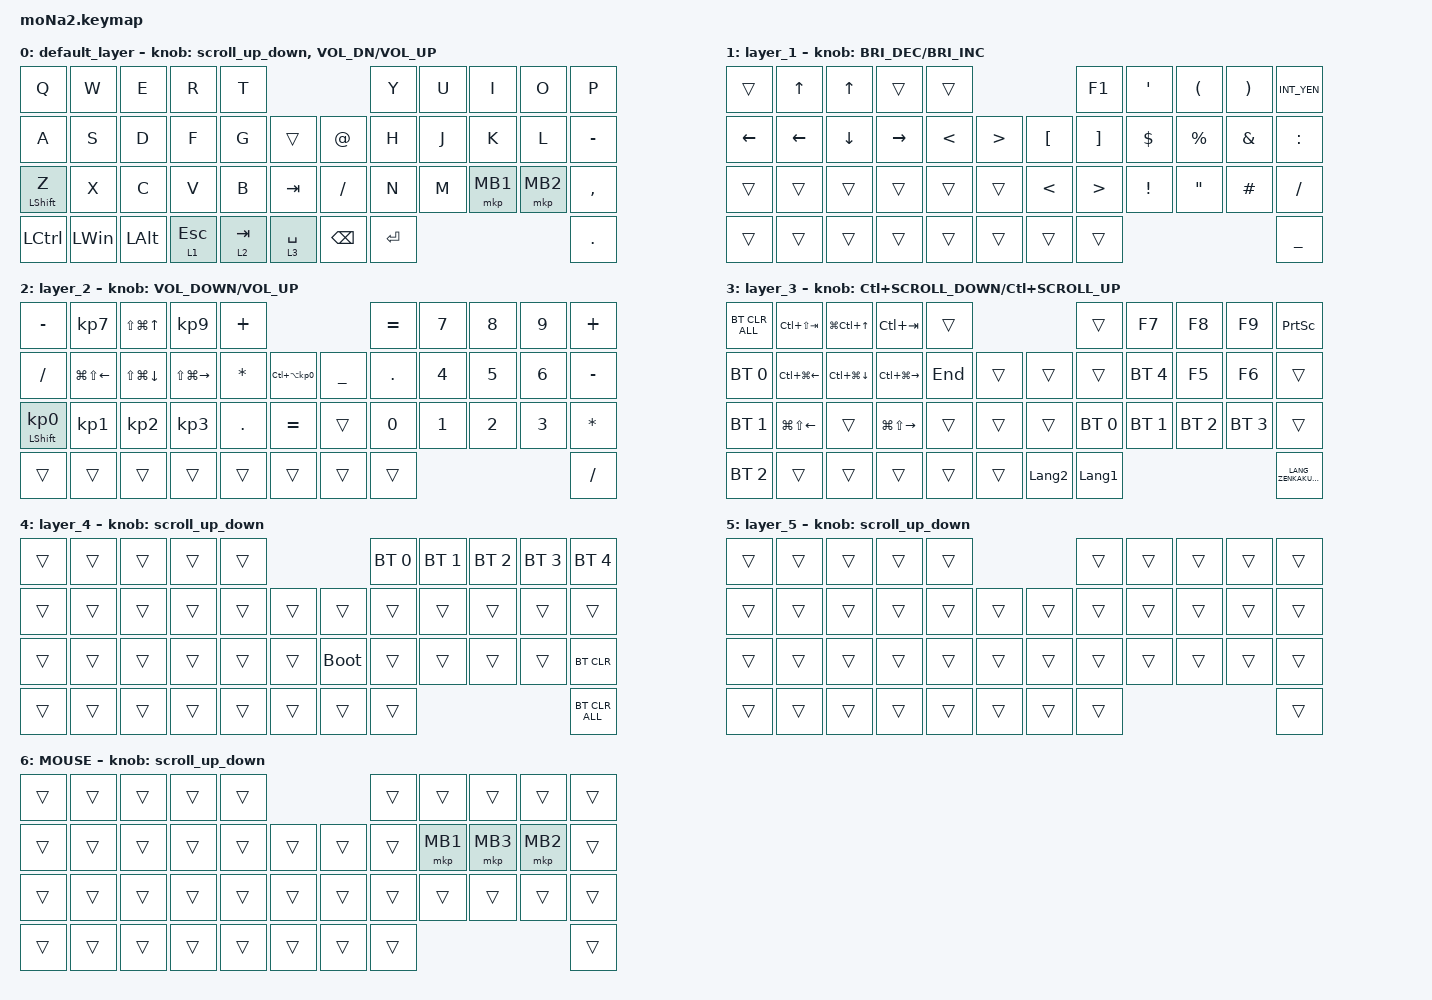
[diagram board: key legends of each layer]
#include <behaviors.dtsi>
#include <dt-bindings/zmk/bt.h>
#include <dt-bindings/zmk/keys.h>
#include <dt-bindings/zmk/pointing.h>
#include <dt-bindings/zmk/pointing.h>

#define ZMK_POINTING_DEFAULT_SCRL_VAL 100
#define MOUSE 6

&mt {
    flavor = "balanced";
    quick-tap-ms = <0>;
};

/ {
    combos { compatible = "zmk,combos"; };

    macros {
        to_layer_0: to_layer_0 {
            compatible = "zmk,behavior-macro-one-param";
            #binding-cells = <1>;
            bindings = <&to 0 &macro_param_1to1 &kp MACRO_PLACEHOLDER>;
            label = "TO_LAYER_0";
        };
    };

    behaviors {
        lt_to_layer_0: lt_to_layer_0 {
            compatible = "zmk,behavior-hold-tap";
            label = "LAYER_TAP_TO_0";
            bindings = <&mo>, <&to_layer_0>;

            #binding-cells = <2>;
            tapping-term-ms = <200>;
        };

        scroll_up_down: behavior_sensor_rotate_mouse_wheel_up_down {
            compatible = "zmk,behavior-sensor-rotate";
            #sensor-binding-cells = <0>;
            bindings = <&msc SCRL_UP>, <&msc SCRL_DOWN>;

            tap-ms = <20>;
        };
    };

    keymap {
        compatible = "zmk,keymap";

        default_layer {
            bindings = <
&kp Q             &kp W         &kp E         &kp R         &kp T                                    &kp Y      &kp U  &kp I     &kp O     &kp P
&kp A             &kp S         &kp D         &kp F         &kp G      &trans         &kp AT_SIGN    &kp H      &kp J  &kp K     &kp L     &kp MINUS
&mt LEFT_SHIFT Z  &kp X         &kp C         &kp V         &kp B      &kp TAB        &kp SLASH      &kp N      &kp M  &mkp MB1  &mkp MB2  &kp COMMA
&kp LCTRL         &kp LEFT_WIN  &kp LEFT_ALT  &lt 1 ESCAPE  &lt 2 TAB  &lt 3 SPACE    &kp BACKSPACE  &kp ENTER                             &kp PERIOD
            >;

            sensor-bindings =
                <&scroll_up_down>,
                <&inc_dec_kp C_VOL_DN C_VOL_UP>;
        };

        layer_1 {
            bindings = <
&trans    &kp UP_ARROW  &kp UP_ARROW  &trans     &trans                                               &kp F1             &kp SQT          &kp LEFT_PARENTHESIS  &kp RIGHT_PARENTHESIS  &kp INT_YEN
&kp LEFT  &kp LEFT      &kp DOWN      &kp RIGHT  &kp LESS_THAN  &kp GREATER_THAN    &kp LEFT_BRACKET  &kp RIGHT_BRACKET  &kp DOLLAR       &kp PERCENT           &kp AMPERSAND          &kp COLON
&trans    &trans        &trans        &trans     &trans         &trans              &kp LESS_THAN     &kp GREATER_THAN   &kp EXCLAMATION  &kp DOUBLE_QUOTES     &kp HASH               &kp SLASH
&trans    &trans        &trans        &trans     &trans         &trans              &trans            &trans                                                                           &kp UNDER
            >;

            sensor-bindings = <&inc_dec_kp C_BRIGHTNESS_DEC C_BRIGHTNESS_INC>;
        };

        layer_2 {
            bindings = <
&kp MINUS                   &kp KP_NUMBER_7   &kp LS(LG(UP_ARROW))  &kp KP_NUMBER_9    &kp PLUS                                                 &kp EQUAL   &kp N7        &kp N8        &kp N9        &kp PLUS
&kp SLASH                   &kp LG(LS(LEFT))  &kp LS(LG(DOWN))      &kp LS(LG(RIGHT))  &kp ASTERISK  &kp LC(LA(KP_NUMBER_0))    &kp UNDERSCORE  &kp PERIOD  &kp NUMBER_4  &kp N5        &kp NUMBER_6  &kp MINUS
&mt LEFT_SHIFT KP_NUMBER_0  &kp KP_NUMBER_1   &kp KP_NUMBER_2       &kp KP_NUMBER_3    &kp PERIOD    &kp EQUAL                  &trans          &kp N0      &kp NUMBER_1  &kp NUMBER_2  &kp NUMBER_3  &kp ASTRK
&trans                      &trans            &trans                &trans             &trans        &trans                     &trans          &trans                                                &kp SLASH
            >;

            sensor-bindings = <&inc_dec_kp C_VOLUME_DOWN C_VOLUME_UP>;
        };

        layer_3 {
            bindings = <
&bt BT_CLR_ALL  &kp LC(LS(TAB))         &kp LG(LC(UP_ARROW))    &kp LC(TAB)              &trans                             &trans          &kp F7        &kp F8        &kp F9        &kp PRINTSCREEN
&bt BT_SEL 0    &kp LC(LG(LEFT_ARROW))  &kp LC(LG(DOWN_ARROW))  &kp LC(LG(RIGHT_ARROW))  &kp END  &trans    &trans          &trans          &bt BT_SEL 4  &kp F5        &kp F6        &trans
&bt BT_SEL 1    &kp LG(LS(LEFT_ARROW))  &trans                  &kp LG(LS(RIGHT_ARROW))  &trans   &trans    &trans          &bt BT_SEL 0    &bt BT_SEL 1  &bt BT_SEL 2  &bt BT_SEL 3  &trans
&bt BT_SEL 2    &trans                  &trans                  &trans                   &trans   &trans    &kp LANGUAGE_2  &kp LANGUAGE_1                                            &kp LANG_ZENKAKUHANKAKU
            >;

            sensor-bindings = <&inc_dec_kp LC(K_SCROLL_DOWN) LC(K_SCROLL_UP)>;
        };

        layer_4 {
            bindings = <
&trans  &trans  &trans  &trans  &trans                         &bt BT_SEL 0  &bt BT_SEL 1  &bt BT_SEL 2  &bt BT_SEL 3  &bt BT_SEL 4
&trans  &trans  &trans  &trans  &trans  &trans    &trans       &trans        &trans        &trans        &trans        &trans
&trans  &trans  &trans  &trans  &trans  &trans    &bootloader  &trans        &trans        &trans        &trans        &bt BT_CLR
&trans  &trans  &trans  &trans  &trans  &trans    &trans       &trans                                                  &bt BT_CLR_ALL
            >;

            sensor-bindings = <&scroll_up_down>;
        };

        layer_5 {
            bindings = <
&trans  &trans  &trans  &trans  &trans                    &trans  &trans  &trans  &trans  &trans
&trans  &trans  &trans  &trans  &trans  &trans    &trans  &trans  &trans  &trans  &trans  &trans
&trans  &trans  &trans  &trans  &trans  &trans    &trans  &trans  &trans  &trans  &trans  &trans
&trans  &trans  &trans  &trans  &trans  &trans    &trans  &trans                          &trans
            >;

            sensor-bindings = <&scroll_up_down>;
        };

        MOUSE {
            bindings = <
&trans  &trans  &trans  &trans  &trans                    &trans  &trans    &trans    &trans    &trans
&trans  &trans  &trans  &trans  &trans  &trans    &trans  &trans  &mkp MB1  &mkp MB3  &mkp MB2  &trans
&trans  &trans  &trans  &trans  &trans  &trans    &trans  &trans  &trans    &trans    &trans    &trans
&trans  &trans  &trans  &trans  &trans  &trans    &trans  &trans                                &trans
            >;

            sensor-bindings = <&scroll_up_down>;
        };
    };
};
